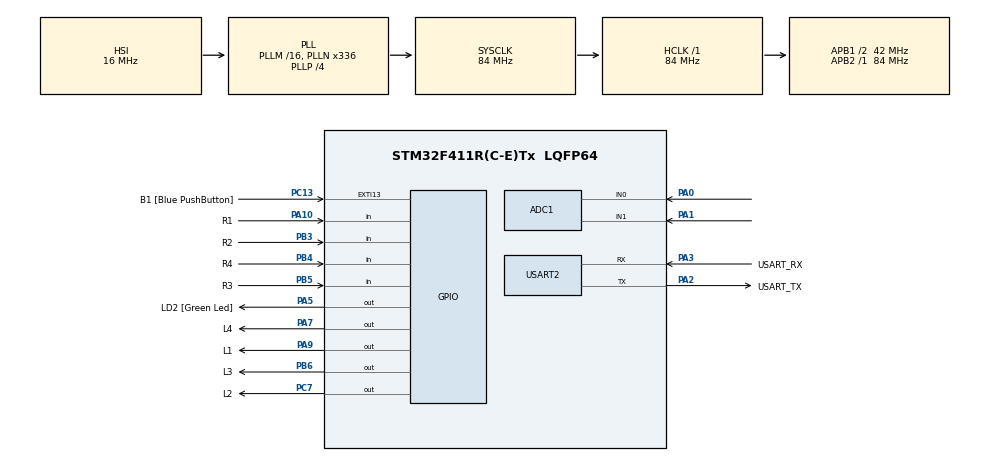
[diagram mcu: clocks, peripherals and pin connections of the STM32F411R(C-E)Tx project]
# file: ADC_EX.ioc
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ADC1.Channel-0\#ChannelRegularConversion=ADC_CHANNEL_0
ADC1.NbrOfConversionFlag=1
ADC1.Rank-0\#ChannelRegularConversion=1
ADC1.SamplingTime-0\#ChannelRegularConversion=ADC_SAMPLETIME_3CYCLES
ADC1.master=1
Mcu.Family=STM32F4
Mcu.Name=STM32F411R(C-E)Tx
Mcu.Package=LQFP64
NVIC.PriorityGroup=NVIC_PRIORITYGROUP_0
PA0-WKUP.Signal=ADCx_IN0
PA1.Signal=ADCx_IN1
PA10.GPIO_Label=R1
PA10.GPIO_Mode=GPIO_MODE_INPUT
PA10.GPIO_PuPd=GPIO_PULLUP
PA10.Signal=GPIO_Input
PA13.GPIO_Label=TMS
PA13.Mode=Serial_Wire
PA13.Signal=SYS_JTMS-SWDIO
PA14.GPIO_Label=TCK
PA14.Mode=Serial_Wire
PA14.Signal=SYS_JTCK-SWCLK
PA2.GPIO_Label=USART_TX
PA2.Mode=Asynchronous
PA2.Signal=USART2_TX
PA3.GPIO_Label=USART_RX
PA3.Mode=Asynchronous
PA3.Signal=USART2_RX
PA5.GPIO_Label=LD2 [Green Led]
PA5.Signal=GPIO_Output
PA7.GPIO_Label=L4
PA7.GPIO_ModeDefaultOutputPP=GPIO_MODE_OUTPUT_OD
PA7.GPIO_PuPd=GPIO_NOPULL
PA7.Signal=GPIO_Output
PA9.GPIO_Label=L1
PA9.GPIO_ModeDefaultOutputPP=GPIO_MODE_OUTPUT_OD
PA9.GPIO_PuPd=GPIO_NOPULL
PA9.Signal=GPIO_Output
PB3.GPIO_Label=R2
PB3.GPIO_Mode=GPIO_MODE_INPUT
PB3.GPIO_PuPd=GPIO_PULLUP
PB3.Signal=GPIO_Input
PB4.GPIO_Label=R4
PB4.GPIO_Mode=GPIO_MODE_INPUT
PB4.GPIO_PuPd=GPIO_PULLUP
PB4.Signal=GPIO_Input
PB5.GPIO_Label=R3
PB5.GPIO_Mode=GPIO_MODE_INPUT
PB5.GPIO_PuPd=GPIO_PULLUP
PB5.Signal=GPIO_Input
PB6.GPIO_Label=L3
PB6.GPIO_ModeDefaultOutputPP=GPIO_MODE_OUTPUT_OD
PB6.GPIO_PuPd=GPIO_NOPULL
PB6.Signal=GPIO_Output
PC13-ANTI_TAMP.GPIO_Label=B1 [Blue PushButton]
PC13-ANTI_TAMP.GPIO_ModeDefaultEXTI=GPIO_MODE_IT_FALLING
PC13-ANTI_TAMP.Signal=GPXTI13
PC14-OSC32_IN.Mode=LSE-External-Oscillator
PC14-OSC32_IN.Signal=RCC_OSC32_IN
PC15-OSC32_OUT.Mode=LSE-External-Oscillator
PC15-OSC32_OUT.Signal=RCC_OSC32_OUT
PC7.GPIO_Label=L2
PC7.GPIO_ModeDefaultOutputPP=GPIO_MODE_OUTPUT_OD
PC7.GPIO_PuPd=GPIO_NOPULL
PC7.Signal=GPIO_Output
PH0\ -\ OSC_IN.Mode=HSE-External-Clock-Source
PH0\ -\ OSC_IN.Signal=RCC_OSC_IN
PH1\ -\ OSC_OUT.Mode=HSE-External-Clock-Source
PH1\ -\ OSC_OUT.Signal=RCC_OSC_OUT
ProjectManager.HeapSize=0x200
ProjectManager.StackSize=0x400
ProjectManager.TargetToolchain=STM32CubeIDE
RCC.48MHZClocksFreq_Value=84000000
RCC.AHBFreq_Value=84000000
RCC.APB1CLKDivider=RCC_HCLK_DIV2
RCC.APB1Freq_Value=42000000
RCC.APB1TimFreq_Value=84000000
RCC.APB2Freq_Value=84000000
RCC.APB2TimFreq_Value=84000000
RCC.CortexFreq_Value=84000000
RCC.FLatency-AdvancedSettings=FLASH_LATENCY_2
RCC.HCLKFreq_Value=84000000
RCC.HSE_VALUE=8000000
RCC.HSI_VALUE=16000000
RCC.PLLN=336
RCC.PLLP=RCC_PLLP_DIV4
RCC.SYSCLKFreq_VALUE=84000000
RCC.SYSCLKSource=RCC_SYSCLKSOURCE_PLLCLK
RCC.VCOOutputFreq_Value=336000000
SH.ADCx_IN0.0=ADC1_IN0,IN0
SH.ADCx_IN1.0=ADC1_IN1,IN1
USART2.VirtualMode=VM_ASYNC
VP_ADC1_TempSens_Input.Mode=IN-TempSens
board=NUCLEO-F411RE

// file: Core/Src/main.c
/* USER CODE BEGIN Header */
/**
  ******************************************************************************
  * @file           : main.c
  * @brief          : Main program body
  ******************************************************************************
  * @attention
  *
  * Copyright (c) 2022 STMicroelectronics.
  * All rights reserved.
  *
  * This software is licensed under terms that can be found in the LICENSE file
  * in the root directory of this software component.
  * If no LICENSE file comes with this software, it is provided AS-IS.
  *
  ******************************************************************************
  */
/* USER CODE END Header */
#include "main.h"

ADC_HandleTypeDef hadc1;

UART_HandleTypeDef huart2;

/* USER CODE BEGIN PV */
typedef struct{
	ADC_ChannelConfTypeDef config;
	uint16_t ADCOutputConverted;
	uint16_t data;
	uint8_t ADCMode;
}ADCSWStructure;

ADCSWStructure ADCChannelExper;

static enum {ADCMODE1,ADCMODE0} ADCState = ADCMODE0;
uint16_t buttonState = 0;
static uint32_t EdgeDetect = 0;

/* USER CODE END PV */

void SystemClock_Config(void);
static void MX_GPIO_Init(void);
static void MX_USART2_UART_Init(void);
static void MX_ADC1_Init(void);
/* USER CODE BEGIN PFP */
void ADCPollingMethodUpdate();
void ADCConfigSetting();
void ButtonMatrixRead();
/* USER CODE END PFP */

int main(void)
{

  /* MCU Configuration--------------------------------------------------------*/

  /* Reset of all peripherals, Initializes the Flash interface and the Systick. */
  HAL_Init();

  /* Configure the system clock */
  SystemClock_Config();

  /* Initialize all configured peripherals */
  MX_GPIO_Init();
  MX_USART2_UART_Init();
  MX_ADC1_Init();
  /* USER CODE BEGIN 2 */
  ADCConfigSetting();
  /* USER CODE END 2 */

  /* Infinite loop */
  /* USER CODE BEGIN WHILE */
  while (1)
  {
	  switch(ADCState)
	  	  {
	  	  case ADCMODE0:
	  		  ADCChannelExper.ADCMode =  0;
	  		  ADCConfigSetting();
	  		  ADCPollingMethodUpdate();
	  		  ButtonMatrixRead();
	  		  switch(buttonState)
	  		  {
	  		  case 0:
	  			  EdgeDetect = 1;
	  			  break;
	  		  case 1:
	  			  if(EdgeDetect == 1)
	  			  {
	  				ADCState = ADCMODE1;
	  			  EdgeDetect = 0;
	  			  }
	  			  break;
	  		  }
	  			  break;
	  	  case ADCMODE1:
	  		  ADCChannelExper.ADCMode =  1;
	  		  ADCConfigSetting();
	  		  ADCPollingMethodUpdate();
	  		  ButtonMatrixRead();
	  		  switch(buttonState)
	  		  {
	  		  case 0:
	  			  EdgeDetect = 1;
	  			  break;
	  		  case 1:
	  			  if(EdgeDetect == 1)
	  			  {
	  				ADCState = ADCMODE0;
	  			  EdgeDetect = 0;
	  			  }
	  			  break;
	  		  }
	  		  break;
	  	  }
    /* USER CODE END WHILE */

  }
}

void SystemClock_Config(void)
{
  RCC_OscInitTypeDef RCC_OscInitStruct = {0};
  RCC_ClkInitTypeDef RCC_ClkInitStruct = {0};

  /** Configure the main internal regulator output voltage
  */
  __HAL_RCC_PWR_CLK_ENABLE();
  __HAL_PWR_VOLTAGESCALING_CONFIG(PWR_REGULATOR_VOLTAGE_SCALE1);
  /** Initializes the RCC Oscillators according to the specified parameters
  * in the RCC_OscInitTypeDef structure.
  */
  RCC_OscInitStruct.OscillatorType = RCC_OSCILLATORTYPE_HSI;
  RCC_OscInitStruct.HSIState = RCC_HSI_ON;
  RCC_OscInitStruct.HSICalibrationValue = RCC_HSICALIBRATION_DEFAULT;
  RCC_OscInitStruct.PLL.PLLState = RCC_PLL_ON;
  RCC_OscInitStruct.PLL.PLLSource = RCC_PLLSOURCE_HSI;
  RCC_OscInitStruct.PLL.PLLM = 16;
  RCC_OscInitStruct.PLL.PLLN = 336;
  RCC_OscInitStruct.PLL.PLLP = RCC_PLLP_DIV4;
  RCC_OscInitStruct.PLL.PLLQ = 4;
  if (HAL_RCC_OscConfig(&RCC_OscInitStruct) != HAL_OK)
  {
    Error_Handler();
  }
  /** Initializes the CPU, AHB and APB buses clocks
  */
  RCC_ClkInitStruct.ClockType = RCC_CLOCKTYPE_HCLK|RCC_CLOCKTYPE_SYSCLK
                              |RCC_CLOCKTYPE_PCLK1|RCC_CLOCKTYPE_PCLK2;
  RCC_ClkInitStruct.SYSCLKSource = RCC_SYSCLKSOURCE_PLLCLK;
  RCC_ClkInitStruct.AHBCLKDivider = RCC_SYSCLK_DIV1;
  RCC_ClkInitStruct.APB1CLKDivider = RCC_HCLK_DIV2;
  RCC_ClkInitStruct.APB2CLKDivider = RCC_HCLK_DIV1;

  if (HAL_RCC_ClockConfig(&RCC_ClkInitStruct, FLASH_LATENCY_2) != HAL_OK)
  {
    Error_Handler();
  }
}

static void MX_ADC1_Init(void)
{

  ADC_ChannelConfTypeDef sConfig = {0};

  /** Configure the global features of the ADC (Clock, Resolution, Data Alignment and number of conversion)
  */
  hadc1.Instance = ADC1;
  hadc1.Init.ClockPrescaler = ADC_CLOCK_SYNC_PCLK_DIV4;
  hadc1.Init.Resolution = ADC_RESOLUTION_12B;
  hadc1.Init.ScanConvMode = DISABLE;
  hadc1.Init.ContinuousConvMode = DISABLE;
  hadc1.Init.DiscontinuousConvMode = DISABLE;
  hadc1.Init.ExternalTrigConvEdge = ADC_EXTERNALTRIGCONVEDGE_NONE;
  hadc1.Init.ExternalTrigConv = ADC_SOFTWARE_START;
  hadc1.Init.DataAlign = ADC_DATAALIGN_RIGHT;
  hadc1.Init.NbrOfConversion = 1;
  hadc1.Init.DMAContinuousRequests = DISABLE;
  hadc1.Init.EOCSelection = ADC_EOC_SINGLE_CONV;
  if (HAL_ADC_Init(&hadc1) != HAL_OK)
  {
    Error_Handler();
  }
  /** Configure for the selected ADC regular channel its corresponding rank in the sequencer and its sample time.
  */
  sConfig.Channel = ADC_CHANNEL_0;
  sConfig.Rank = 1;
  sConfig.SamplingTime = ADC_SAMPLETIME_3CYCLES;
  if (HAL_ADC_ConfigChannel(&hadc1, &sConfig) != HAL_OK)
  {
    Error_Handler();
  }

}

static void MX_USART2_UART_Init(void)
{

  huart2.Instance = USART2;
  huart2.Init.BaudRate = 115200;
  huart2.Init.WordLength = UART_WORDLENGTH_8B;
  huart2.Init.StopBits = UART_STOPBITS_1;
  huart2.Init.Parity = UART_PARITY_NONE;
  huart2.Init.Mode = UART_MODE_TX_RX;
  huart2.Init.HwFlowCtl = UART_HWCONTROL_NONE;
  huart2.Init.OverSampling = UART_OVERSAMPLING_16;
  if (HAL_UART_Init(&huart2) != HAL_OK)
  {
    Error_Handler();
  }

}

static void MX_GPIO_Init(void)
{
  GPIO_InitTypeDef GPIO_InitStruct = {0};

  /* GPIO Ports Clock Enable */
  __HAL_RCC_GPIOC_CLK_ENABLE();
  __HAL_RCC_GPIOH_CLK_ENABLE();
  __HAL_RCC_GPIOA_CLK_ENABLE();
  __HAL_RCC_GPIOB_CLK_ENABLE();

  /*Configure GPIO pin Output Level */
  HAL_GPIO_WritePin(GPIOA, LD2_Pin|L4_Pin|L1_Pin, GPIO_PIN_RESET);

  /*Configure GPIO pin Output Level */
  HAL_GPIO_WritePin(L2_GPIO_Port, L2_Pin, GPIO_PIN_RESET);

  /*Configure GPIO pin Output Level */
  HAL_GPIO_WritePin(L3_GPIO_Port, L3_Pin, GPIO_PIN_RESET);

  /*Configure GPIO pin : B1_Pin */
  GPIO_InitStruct.Pin = B1_Pin;
  GPIO_InitStruct.Mode = GPIO_MODE_IT_FALLING;
  GPIO_InitStruct.Pull = GPIO_NOPULL;
  HAL_GPIO_Init(B1_GPIO_Port, &GPIO_InitStruct);

  /*Configure GPIO pin : LD2_Pin */
  GPIO_InitStruct.Pin = LD2_Pin;
  GPIO_InitStruct.Mode = GPIO_MODE_OUTPUT_PP;
  GPIO_InitStruct.Pull = GPIO_NOPULL;
  GPIO_InitStruct.Speed = GPIO_SPEED_FREQ_LOW;
  HAL_GPIO_Init(LD2_GPIO_Port, &GPIO_InitStruct);

  /*Configure GPIO pins : L4_Pin L1_Pin */
  GPIO_InitStruct.Pin = L4_Pin|L1_Pin;
  GPIO_InitStruct.Mode = GPIO_MODE_OUTPUT_OD;
  GPIO_InitStruct.Pull = GPIO_NOPULL;
  GPIO_InitStruct.Speed = GPIO_SPEED_FREQ_LOW;
  HAL_GPIO_Init(GPIOA, &GPIO_InitStruct);

  /*Configure GPIO pin : L2_Pin */
  GPIO_InitStruct.Pin = L2_Pin;
  GPIO_InitStruct.Mode = GPIO_MODE_OUTPUT_OD;
  GPIO_InitStruct.Pull = GPIO_NOPULL;
  GPIO_InitStruct.Speed = GPIO_SPEED_FREQ_LOW;
  HAL_GPIO_Init(L2_GPIO_Port, &GPIO_InitStruct);

  /*Configure GPIO pin : R1_Pin */
  GPIO_InitStruct.Pin = R1_Pin;
  GPIO_InitStruct.Mode = GPIO_MODE_INPUT;
  GPIO_InitStruct.Pull = GPIO_PULLUP;
  HAL_GPIO_Init(R1_GPIO_Port, &GPIO_InitStruct);

  /*Configure GPIO pins : R2_Pin R4_Pin R3_Pin */
  GPIO_InitStruct.Pin = R2_Pin|R4_Pin|R3_Pin;
  GPIO_InitStruct.Mode = GPIO_MODE_INPUT;
  GPIO_InitStruct.Pull = GPIO_PULLUP;
  HAL_GPIO_Init(GPIOB, &GPIO_InitStruct);

  /*Configure GPIO pin : L3_Pin */
  GPIO_InitStruct.Pin = L3_Pin;
  GPIO_InitStruct.Mode = GPIO_MODE_OUTPUT_OD;
  GPIO_InitStruct.Pull = GPIO_NOPULL;
  GPIO_InitStruct.Speed = GPIO_SPEED_FREQ_LOW;
  HAL_GPIO_Init(L3_GPIO_Port, &GPIO_InitStruct);

}

/* USER CODE BEGIN 4 */
GPIO_TypeDef* buttonMatrixPortR[4]= {R1_GPIO_Port,R2_GPIO_Port,R3_GPIO_Port,R4_GPIO_Port};
uint16_t buttonMatrixPinR[4] = {R1_Pin,R2_Pin,R3_Pin,R4_Pin};

GPIO_TypeDef* buttonMatrixPortL[4]= {L1_GPIO_Port,L2_GPIO_Port,L3_GPIO_Port,L4_GPIO_Port};
uint16_t buttonMatrixPinL[4] = {L1_Pin,L2_Pin,L3_Pin,L4_Pin};

void ADCConfigSetting()
{
	if (ADCChannelExper.ADCMode == 0)
	{
		ADCChannelExper.config.Channel = ADC_CHANNEL_0;
	}
	else
	{
		ADCChannelExper.config.Channel = ADC_CHANNEL_TEMPSENSOR;
	}
	ADCChannelExper.config.Rank = 1;
	ADCChannelExper.config.SamplingTime = ADC_SAMPLETIME_3CYCLES;
}

void ADCPollingMethodUpdate()
{
		HAL_ADC_ConfigChannel(&hadc1,&ADCChannelExper.config);

		//Start Sampling
		HAL_ADC_Start(&hadc1);

		//wait for sampling and conversion
		if(HAL_ADC_PollForConversion(&hadc1, 10) == HAL_OK)
		{
			//Get data
			ADCChannelExper.data = HAL_ADC_GetValue(&hadc1);

			if(ADCChannelExper.ADCMode == 0)
			{
				ADCChannelExper.ADCOutputConverted = (ADCChannelExper.data*1000)*(3.3/4096);
			}
			else
			{
				ADCChannelExper.ADCOutputConverted = (((ADCChannelExper.data*1000*3.3/4096)-(0.76*1000))/2.5)+25;
			}
		}
		//stop adc na
		HAL_ADC_Stop(&hadc1);
}

void ButtonMatrixRead()
{
	static uint32_t timeStamp = 0;
	static uint8_t currentL = 0;
	if(HAL_GetTick() - timeStamp >= 10)
	{
		timeStamp = HAL_GetTick();
		for(int i=0; i<4;i++)
		{
			if(HAL_GPIO_ReadPin(buttonMatrixPortR[i], buttonMatrixPinR[i]) == GPIO_PIN_RESET)
			{
				buttonState |= 1<< (i + (currentL*4));
			}
			else
			{
				buttonState &= ~(1<<(i + (currentL*4)));
			}
		}
		HAL_GPIO_WritePin(buttonMatrixPortL[currentL], buttonMatrixPinL[currentL], GPIO_PIN_SET);
		uint8_t nextL = (currentL+1)%4;
		HAL_GPIO_WritePin(buttonMatrixPortL[nextL], buttonMatrixPinL[nextL], GPIO_PIN_RESET);
		currentL = nextL;
	}
}
/* USER CODE END 4 */

void Error_Handler(void)
{
  __disable_irq();
  while (1)
  {
  }
}
